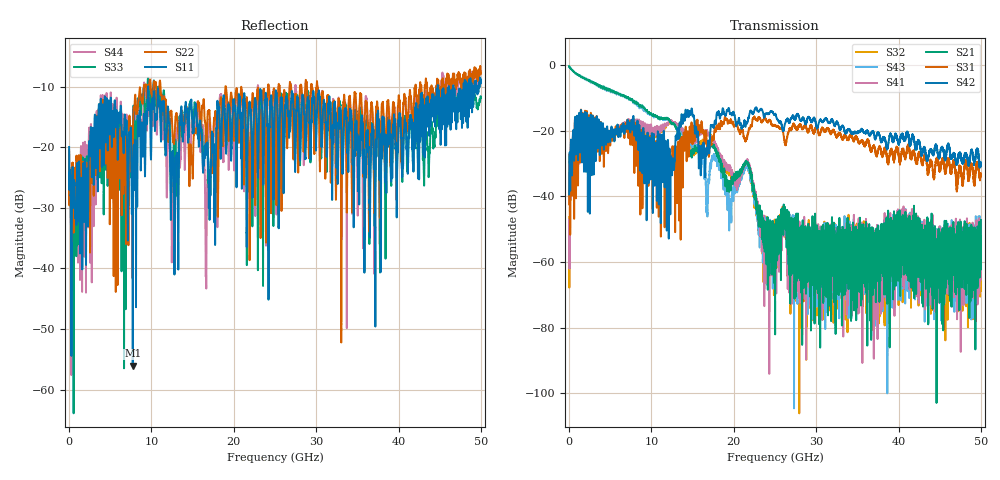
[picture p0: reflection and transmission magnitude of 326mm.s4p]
!Agilent Technologies,N5245A,MY51251349,A.09.33.09
!Agilent N5245A: A.09.33.09
!Date: Tuesday, September 29, 2020 16:16:37
!Correction: S11(Full 4 Port(1,2,3,4))
!S12(Full 4 Port(1,2,3,4))
!S13(Full 4 Port(1,2,3,4))
!S14(Full 4 Port(1,2,3,4))
!S21(Full 4 Port(1,2,3,4))
!S22(Full 4 Port(1,2,3,4))
!S23(Full 4 Port(1,2,3,4))
!S24(Full 4 Port(1,2,3,4))
!S31(Full 4 Port(1,2,3,4))
!S32(Full 4 Port(1,2,3,4))
!S33(Full 4 Port(1,2,3,4))
!S34(Full 4 Port(1,2,3,4))
!S41(Full 4 Port(1,2,3,4))
!S42(Full 4 Port(1,2,3,4))
!S43(Full 4 Port(1,2,3,4))
!S44(Full 4 Port(1,2,3,4))
!S4P File: Measurements: <S11,S12,S13,S14>,
!<S21,S22,S23,S24>,
!<S31,S32,S33,S34>,
!<S41,S42,S43,S44>:
# Hz S  dB  R 50
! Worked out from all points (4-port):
!   6401 points, 10 MHz to 50 GHz, reference 50 ohm
!   strongest paths, dB at 10 MHz, 12.51 GHz, 25 GHz, 37.5 GHz, 50 GHz:
!     S42: -39.4, -33.4, -14.8, -20.5, -30.3
!     S31: -42.4, -27.2, -18.5, -26.4, -33.5
!     S21: -0.3, -17.8, -60.7, -61.2, -47.2
!     S41: -53.4, -17.2, -54.4, -51.8, -47.8
!     S43: -0.5, -17.7, -57.7, -68.5, -55.7
!     S32: -48.9, -17.7, -61.0, -61.7, -54.4
!   lowest |S11| = -56.1 dB at 7.735 GHz (marker M1), VSWR 1.00, Z = 49.9 - j0.0582 ohm
!   |S11| at or under -10 dB: start of sweep to 9.594 GHz; 9.605 GHz to 44.76 GHz (35.15 GHz wide, 129 % of centre); 44.78 GHz to 46.11 GHz (1.328 GHz wide, 2.92 % of centre)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
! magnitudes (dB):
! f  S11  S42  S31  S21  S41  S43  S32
! 10 MHz  -20.0  -39.4  -42.4  -0.3  -53.4  -0.5  -48.9
! 1.439 GHz  -25.5  -13.7  -13.7  -3.6  -26.4  -3.7  -25.2
! 7.735 GHz  -56.1  -18.1  -20.8  -10.8  -16.2  -11.0  -17.4
! 19.47 GHz  -13.5  -14.0  -17.4  -36.9  -32.0  -48.0  -33.3
! 21.69 GHz  -17.7  -17.2  -21.0  -29.8  -29.5  -30.9  -31.5
! 24.77 GHz  -21.6  -14.5  -18.5  -55.5  -52.3  -54.5  -48.7
! 50 GHz  -8.9  -30.3  -33.5  -47.2  -47.8  -55.7  -54.4
